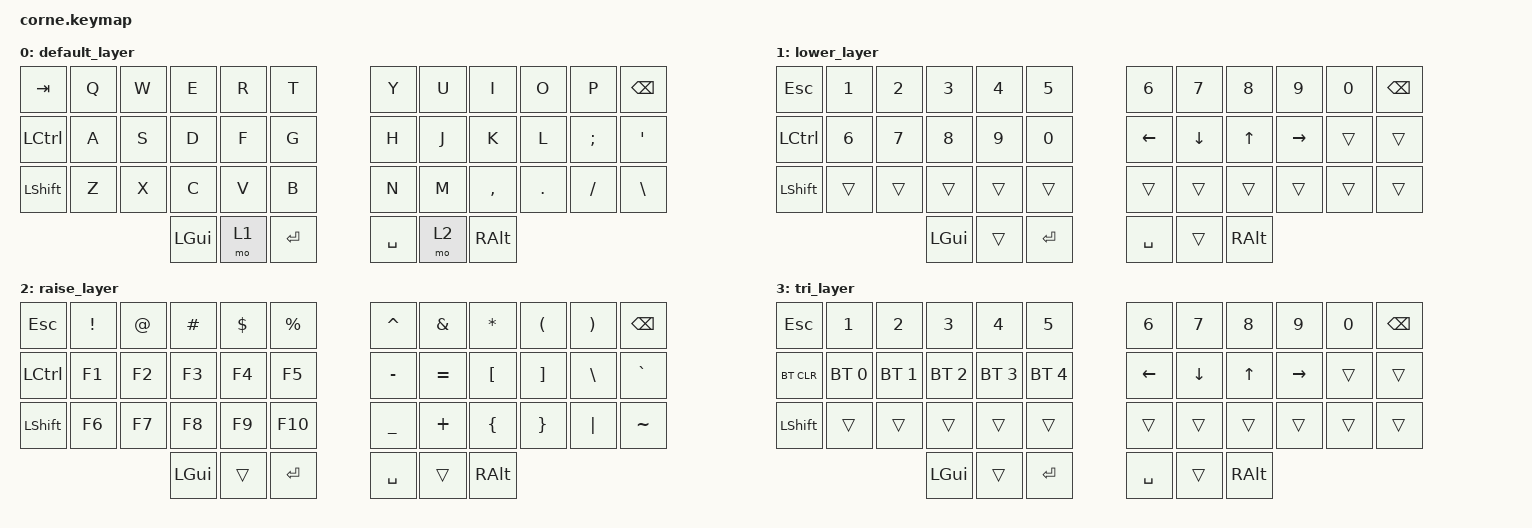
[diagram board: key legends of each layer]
/*
 * Copyright (c) 2020 The ZMK Contributors
 *
 * SPDX-License-Identifier: MIT
 */

#include <behaviors.dtsi>
#include <dt-bindings/zmk/keys.h>
#include <dt-bindings/zmk/bt.h>

/ {
    conditional_layers {
        compatible = "zmk,conditional-layers";
        tri_layer {
            if-layers = <1 2>;
            then-layer = <3>;
        };
    };
};

/ {
        keymap {
                compatible = "zmk,keymap";

                default_layer {
// -----------------------------------------------------------------------------------------
// |  TAB |  Q  |  W  |  E  |  R  |  T  |   |  Y  |  U   |  I  |  O  |  P  | BSPC |
// | CTRL |  A  |  S  |  D  |  F  |  G  |   |  H  |  J   |  K  |  L  |  ;  |  '   |
// | SHFT |  Z  |  X  |  C  |  V  |  B  |   |  N  |  M   |  ,  |  .  |  /  |  \  |
//                    | GUI | LWR | ENT |   | SPC | RSE  | ALT |
                        bindings = <
   &kp TAB   &kp Q &kp W &kp E &kp R &kp T   &kp Y &kp U  &kp I     &kp O   &kp P    &kp BSPC
   &kp LCTRL &kp A &kp S &kp D &kp F &kp G   &kp H &kp J  &kp K     &kp L   &kp SEMI &kp SQT
   &kp LSHFT &kp Z &kp X &kp C &kp V &kp B   &kp N &kp M  &kp COMMA &kp DOT &kp FSLH &kp BSLH
                  &kp LGUI &mo 1 &kp RET   &kp SPACE &mo 2 &kp RALT
                        >;
                };
                lower_layer {
// -----------------------------------------------------------------------------------------
// |  ESC |  1  |  2  |  3  |  4  |  5  |   |  6  |  7  |  8  |  9  |  0  | BSPC |
// | BTCLR| 6 | 7 | 8 | 9 | 10 |   | LFT | DWN |  UP | RGT |     |      |
// | SHFT |     |     |     |     |     |   |     |     |     |     |     |      |
//                    | GUI |     | ENT |   | SPC |     | ALT |
                        bindings = <
   &kp ESC    &kp N1       &kp N2       &kp N3       &kp N4       &kp N5         &kp N6   &kp N7   &kp N8 &kp N9    &kp N0 &kp BSPC
   &kp LCTRL &kp N6 &kp N7 &kp N8 &kp N9 &kp N0   &kp LEFT &kp DOWN &kp UP &kp RIGHT &trans &trans
   &kp LSHFT  &trans       &trans       &trans       &trans       &trans         &trans   &trans   &trans &trans    &trans &trans
                                    &kp LGUI     &trans       &kp RET      &kp SPACE  &trans   &kp RALT
                        >;
                };

                raise_layer {
// -----------------------------------------------------------------------------------------
// |  ESC |  !  |  @  |  #  |  $  |  %  |   |  ^  |  &  |  *  |  (  |  )  | BSPC |
// | CTRL |     |     |     |     |     |   |  -  |  =  |  [  |  ]  |  \  |  `   |
// | SHFT |     |     |     |     |     |   |  _  |  +  |  {  |  }  | "|" |  ~   |
//                    | GUI |     | SPC |   | ENT |     | ALT |
                        bindings = <
   &kp  ESC  &kp EXCL &kp AT &kp HASH &kp DLLR &kp PRCNT   &kp CARET &kp AMPS  &kp ASTRK &kp LPAR &kp RPAR &kp BSPC
   &kp LCTRL &kp F1   &kp F2 &kp F3   &kp F4   &kp F5      &kp MINUS &kp EQUAL &kp LBKT  &kp RBKT &kp BSLH &kp GRAVE
   &kp LSHFT &kp F6   &kp F7 &kp F8   &kp F9   &kp F10      &kp UNDER &kp PLUS  &kp LBRC  &kp RBRC &kp PIPE &kp TILDE
                             &kp LGUI &trans   &kp RET   &kp SPACE   &trans    &kp RALT
                        >;
                };

                tri_layer {
// -----------------------------------------------------------------------------------------
// |  ESC |  1  |  2  |  3  |  4  |  5  |   |  6  |  7  |  8  |  9  |  0  | BSPC |
// | BTCLR| BT1 | BT2 | BT3 | BT4 | BT5 |   | LFT | DWN |  UP | RGT |     |      |
// | SHFT |     |     |     |     |     |   |     |     |     |     |     |      |
//                    | GUI |     | ENT |   | SPC |     | ALT |
                        bindings = <
   &kp ESC    &kp N1       &kp N2       &kp N3       &kp N4       &kp N5         &kp N6   &kp N7   &kp N8 &kp N9    &kp N0 &kp BSPC
   &bt BT_CLR &bt BT_SEL 0 &bt BT_SEL 1 &bt BT_SEL 2 &bt BT_SEL 3 &bt BT_SEL 4   &kp LEFT &kp DOWN &kp UP &kp RIGHT &trans &trans
   &kp LSHFT  &trans       &trans       &trans       &trans       &trans         &trans   &trans   &trans &trans    &trans &trans
                                    &kp LGUI     &trans       &kp RET      &kp SPACE  &trans   &kp RALT
                                >;
                };
        };
};
